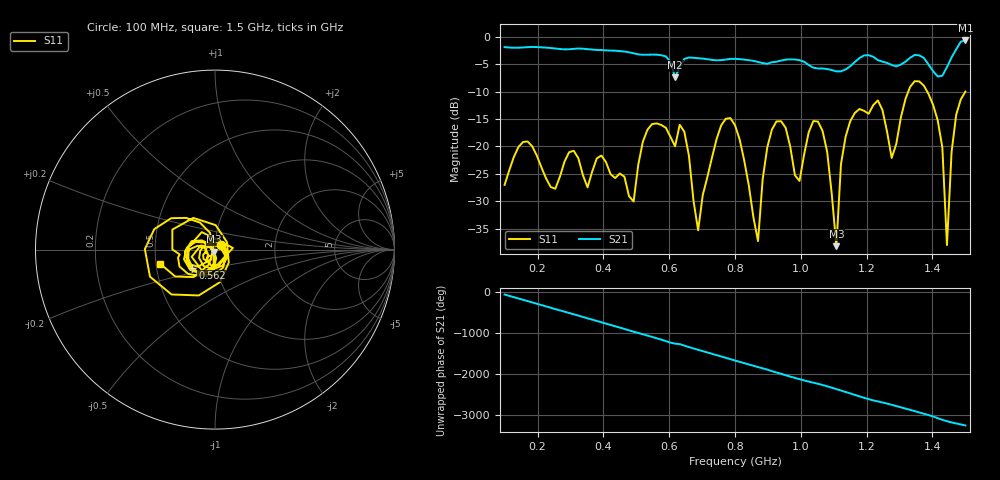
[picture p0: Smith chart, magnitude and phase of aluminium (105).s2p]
! NanoVNA-App
! Date: 2025-09-25 14:56:05
! Start: 100MHz Stop: 1,5GHz Points: 101
! S-Parameter data: F S11 S21 S12 S22
# Hz S RI R 50
!  Frequency  S11_Real  S11_Imag  S21_Real  S21_Imag  S12_Real  S12_Imag  S22_Real  S22_Imag
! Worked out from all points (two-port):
!   101 points, 100 MHz to 1.5 GHz, reference 50 ohm
!   highest |S21| = -0.70 dB at 1.5 GHz (marker M1); lowest = -7.4 dB at 618 MHz (marker M2)
!   |S21| within 3 dB of the highest: start of sweep to 591.4 MHz; 1.184 GHz to 1.221 GHz (36.54 MHz wide, 3.04 % of centre) (the widest 2 of 4)
!   lowest |S11| = -38.2 dB at 1.108 GHz (marker M3), VSWR 1.03, Z = 49.6 - j1.15 ohm
!   |S11| at or under -10 dB: start of sweep to 1.327 GHz; 1.384 GHz to end of sweep
!   S12 and S22 are empty: the file has one direction only
!   S11 on the Smith chart (normalised r, x): 100 MHz: 1.07, +0.06; 562 MHz: 0.76, -0.16; 1.5 GHz: 0.53, -0.09
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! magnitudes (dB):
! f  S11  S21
! 100 MHz  -27.0  -1.9
! 338 MHz  -25.2  -2.2
! 492 MHz  -30.0  -3.0
! 562 MHz  -15.8  -3.3
! 576 MHz  -16.1  -3.4
! 618 MHz  -20.0  -7.4
! 646 MHz  -17.3  -4.1
! 688 MHz  -35.3  -3.9
! 800 MHz  -16.1  -4.0
! 870 MHz  -37.2  -4.6
! 912 MHz  -16.9  -4.7
! 996 MHz  -26.3  -4.3
! 1.038 GHz  -15.4  -5.7
! 1.108 GHz  -38.2  -6.3
! 1.122 GHz  -23.2  -6.3
! 1.164 GHz  -13.9  -4.6
! 1.276 GHz  -22.1  -5.2
! 1.374 GHz  -8.9  -3.9
! 1.43 GHz  -20.2  -7.1
! 1.444 GHz  -38.0  -5.6
! 1.458 GHz  -21.0  -3.8
! 1.5 GHz  -10.0  -0.7
